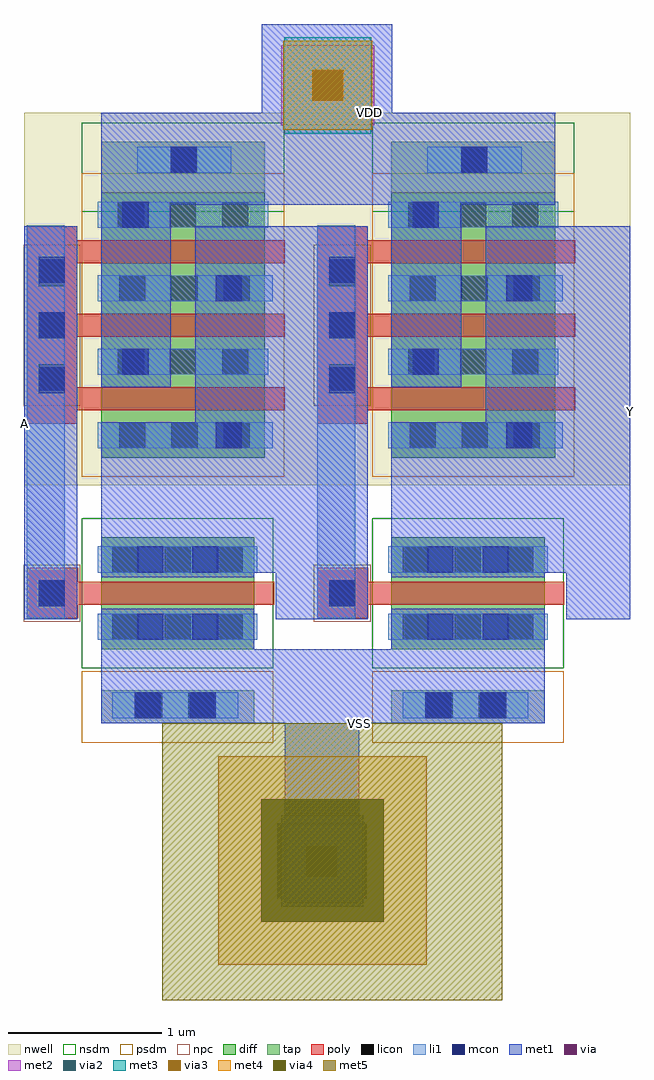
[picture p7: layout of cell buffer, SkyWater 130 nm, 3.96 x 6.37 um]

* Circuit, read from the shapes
.subckt buffer A VDD VSS Y
XM1 inv_0/A A VSS VSS sky130_fd_pr__nfet_01v8 w=1 l=0.15
XM2 Y inv_0/A VSS VSS sky130_fd_pr__nfet_01v8 w=1 l=0.15
XM3 VDD A inv_0/A VDD sky130_fd_pr__pfet_01v8 w=1.07 l=0.15 m=3
XM4 VDD inv_0/A Y VDD sky130_fd_pr__pfet_01v8 w=1.07 l=0.15 m=3
.ends

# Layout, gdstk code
from math import pi, radians
import gdstk
lib = gdstk.Library(unit=1e-6, precision=1e-09)
def R(c, l, rs):  # rectangles x0, y0, x1, y1
    for r in rs: c.add(gdstk.rectangle(r[:2], r[2:], *l))
def A(c, l, x, y, w, h, nx, ny, dx, dy):  # array of equal rectangles
    R(c, l, [(x+i*dx, y+j*dy, x+i*dx+w, y+j*dy+h) for i in range(nx) for j in range(ny)])
nwell = (64, 20)
diff = (65, 20)
tap = (65, 44)
poly = (66, 20)
licon = (66, 44)
li1 = (67, 20)
mcon = (67, 44)
met1 = (68, 20)
via = (68, 44)
met2 = (69, 20)
via2 = (69, 44)
met3 = (70, 20)
via3 = (70, 44)
met4 = (71, 20)
via4 = (71, 44)
met5 = (72, 20)
nsdm = (93, 44)
psdm = (94, 20)
npc = (95, 20)

sky130_fd_pr__nfet_01v8_ = lib.new_cell('sky130_fd_pr__nfet_01v8_6H9P4D')
R(sky130_fd_pr__nfet_01v8_, diff, [(-0.365,-0.5,0.365,0.5)])
R(sky130_fd_pr__nfet_01v8_, poly, [(-0.075,-0.63,0.075,0.63)])
A(sky130_fd_pr__nfet_01v8_, licon, -0.305, -0.425, 0.17, 0.17, 1, 3, 0, 0.34)
A(sky130_fd_pr__nfet_01v8_, licon, 0.135, -0.425, 0.17, 0.17, 1, 3, 0, 0.34)
R(sky130_fd_pr__nfet_01v8_, li1, [(-0.305,-0.52,-0.135,0.52), (0.135,-0.52,0.305,0.52)])
R(sky130_fd_pr__nfet_01v8_, mcon, [(-0.305,-0.265,-0.135,-0.095), (0.135,-0.265,0.305,-0.095), (-0.305,0.095,-0.135,0.265), (0.135,0.095,0.305,0.265)])
R(sky130_fd_pr__nfet_01v8_, met1, [(-0.335,-0.5,-0.105,0.5), (0.105,-0.5,0.335,0.5)])
R(sky130_fd_pr__nfet_01v8_, nsdm, [(-0.49,-0.625,0.49,0.625)])

efepmos_w107_l15_f3 = lib.new_cell('efepmos_W107-L15-F3')
R(efepmos_w107_l15_f3, nwell, [(-1.045,-1.035,1.045,0.845)])
R(efepmos_w107_l15_f3, diff, [(-0.865,-0.535,0.865,0.535)])
A(efepmos_w107_l15_f3, poly, -0.555, -0.69, 0.15, 1.355, 3, 1, 0.48, 0)
R(efepmos_w107_l15_f3, poly, [(-0.645,-1.02,0.645,-0.69)])
A(efepmos_w107_l15_f3, licon, -0.425, -0.94, 0.17, 0.17, 3, 1, 0.34, 0)
A(efepmos_w107_l15_f3, licon, -0.805, -0.425, 0.17, 0.17, 1, 3, 0, 0.34)
A(efepmos_w107_l15_f3, licon, 0.155, -0.425, 0.17, 0.17, 1, 3, 0, 0.34)
A(efepmos_w107_l15_f3, licon, -0.325, -0.415, 0.17, 0.17, 1, 3, 0, 0.34)
A(efepmos_w107_l15_f3, licon, 0.635, -0.415, 0.17, 0.17, 1, 3, 0, 0.34)
R(efepmos_w107_l15_f3, li1, [(-0.645,-0.94,0.645,-0.77), (-0.805,-0.555,-0.635,0.555), (-0.325,-0.555,-0.155,0.585), (0.155,-0.555,0.325,0.555), (0.635,-0.555,0.805,0.585)])
A(efepmos_w107_l15_f3, mcon, -0.445, -0.94, 0.17, 0.17, 3, 1, 0.36, 0)
R(efepmos_w107_l15_f3, mcon, [(-0.805,-0.395,-0.635,-0.225), (0.155,-0.395,0.325,-0.225), (-0.325,0.215,-0.155,0.385), (0.635,0.215,0.805,0.385)])
R(efepmos_w107_l15_f3, met1, [(-0.645,-1.02,0.645,-0.69), (-1.045,-0.535,0.405,-0.08), (-0.405,0.08,1.045,0.535)])
R(efepmos_w107_l15_f3, psdm, [(-0.99,-0.66,0.99,0.66)])
R(efepmos_w107_l15_f3, npc, [(-0.525,-1.04,0.525,-0.67)])

inv = lib.new_cell('inv')
R(inv, nwell, [(1.88,0,2.06,1.83), (1.63,1.44,1.715,1.45), (1.115,1.45,1.715,1.69), (0.505,1.735,0.52,1.83), (0,1.83,2.06,2.43)])
R(inv, tap, [(0.5,-1.555,1.5,-1.34), (0.5,1.91,1.57,2.24)])
R(inv, poly, [(0.015,-0.87,0.35,-0.78), (0.015,-0.78,0.375,-0.63), (0.015,-0.63,0.35,-0.54)])
R(inv, licon, [(0.73,-1.52,0.9,-1.35), (1.07,-1.52,1.24,-1.35), (0.095,-0.79,0.265,-0.62), (0.955,2.04,1.125,2.21)])
R(inv, li1, [(0.575,-1.52,1.395,-1.35), (0.015,-0.87,0.265,1.695), (0.735,2.04,1.35,2.21)])
R(inv, mcon, [(0.72,-1.52,0.89,-1.35), (1.08,-1.52,1.25,-1.35), (0.095,-0.79,0.265,-0.62), (0.955,2.04,1.125,2.21)])
R(inv, met1, [(0.5,-1.555,1.5,-0.805), (0,-0.875,0.345,0.4), (1.64,-0.875,2.06,-0.57), (0.5,-0.57,2.06,0.41), (0,0.4,0.265,1.69), (1.115,0.41,2.06,1.69), (0.505,1.735,0.52,1.83), (0.5,1.83,1.57,2.43)])
R(inv, nsdm, [(0.375,1.785,1.695,2.365)])
R(inv, psdm, [(0.375,-1.68,1.625,-1.215)])
R(inv, npc, [(-0.005,-0.89,0.365,-0.52)])
inv.add(gdstk.Reference(sky130_fd_pr__nfet_01v8_, (1,-0.705), rotation=3*pi/2))
inv.add(gdstk.Reference(efepmos_w107_l15_f3, (1.035,1.045), rotation=3*pi/2))
inv.add(gdstk.Label('A', (0,0.39), layer=68, texttype=16))
inv.add(gdstk.Label('VSS', (0.99,-1.555), layer=68, texttype=16))
inv.add(gdstk.Label('VDD', (1.05,2.43), layer=68, texttype=16))
inv.add(gdstk.Label('Y', (2.06,0.39), layer=68, texttype=16))

buffer = lib.new_cell('buffer')
R(buffer, nwell, [(2.035,1.25,2.095,3.16), (-0.025,1.64,-0.015,1.67), (3.925,1.725,3.93,1.735), (1.545,3.16,2.595,3.68)])
R(buffer, met1, [(1.675,-1.475,2.16,-0.305), (1.475,-0.305,2.595,0.18), (2.035,0.375,2.095,2.94), (-0.025,1.64,-0.015,1.67), (3.925,1.725,3.93,1.735), (1.545,3.08,2.37,3.16), (1.545,3.16,2.595,3.455), (1.525,3.455,2.595,3.68), (1.525,3.68,2.375,4.26)])
R(buffer, via, [(1.84,-1.28,1.99,-1.13), (1.88,3.785,2.03,3.935)])
R(buffer, met2, [(1.63,-1.445,2.205,-0.96), (1.65,3.6,2.26,4.12)])
R(buffer, via2, [(1.815,-1.305,2.015,-1.105), (1.855,3.76,2.055,3.96)])
R(buffer, met3, [(1.65,-1.5,2.185,-0.905), (1.67,3.545,2.24,4.175)])
R(buffer, via3, [(1.815,-1.305,2.015,-1.105), (1.855,3.76,2.055,3.96)])
R(buffer, met4, [(1.24,-1.88,2.6,-0.52), (1.665,3.57,2.245,4.15)])
R(buffer, via4, [(1.52,-1.6,2.32,-0.8)])
R(buffer, met5, [(0.875,-2.11,3.095,-0.305)])
buffer.add(gdstk.Reference(inv, (1.87,1.25)))
buffer.add(gdstk.Reference(inv, (-0.025,1.25)))
buffer.add(gdstk.Label('A', (-0.025,1.655), layer=68, texttype=16))
buffer.add(gdstk.Label('VSS', (2.165,-0.305), layer=68, texttype=16))
buffer.add(gdstk.Label('VDD', (2.23,3.68), layer=68, texttype=16))
buffer.add(gdstk.Label('Y', (3.93,1.73), layer=68, texttype=16))

lib.write_gds('buffer.gds')
